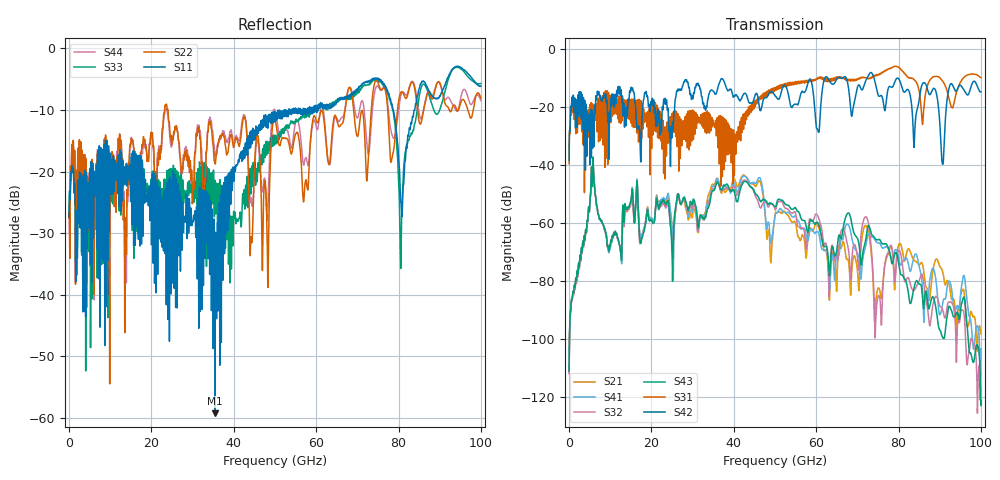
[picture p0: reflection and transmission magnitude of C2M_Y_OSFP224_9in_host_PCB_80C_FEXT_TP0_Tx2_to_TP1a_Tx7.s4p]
# GHz S RI R 45
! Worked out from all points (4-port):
!   4000 points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, 25 MHz to 100 GHz, reference 45 ohm
!   strongest paths, dB at 25 MHz, 25.02 GHz, 50.02 GHz, 75.03 GHz, 100 GHz:
!     S42: -38.3, -28.8, -16.0, -15.6, -14.6
!     S31: -39.5, -22.8, -13.1, -8.9, -9.8
!     S43: -111.0, -70.9, -54.3, -65.7, -121.2
!     S32: -111.8, -65.9, -55.2, -85.2, -112.3
!     S41: -110.6, -61.3, -57.4, -66.7, -103.3
!     S21: -111.2, -60.8, -56.9, -82.4, -98.1
!   lowest |S11| = -59.2 dB at 35.42 GHz (marker M1), VSWR 1.00, Z = 45.1 + j0.0616 ohm
!   |S11| at or under -10 dB: start of sweep to 52.24 GHz; 52.67 GHz to 53.37 GHz (704.3 MHz wide, 1.33 % of centre); 78.74 GHz to 83.94 GHz (5.196 GHz wide, 6.39 % of centre)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
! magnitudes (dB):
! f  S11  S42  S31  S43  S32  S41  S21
! 25 MHz  -27.4  -38.3  -39.5  -111.0  -111.8  -110.6  -111.2
! 5.75 GHz  -18.6  -34.1  -18.8  -39.9  -40.1  -39.9  -40.1
! 12.4 GHz  -16.8  -14.4  -16.1  -68.3  -68.0  -68.3  -68.1
! 35.42 GHz  -59.2  -15.4  -27.0  -48.0  -47.5  -46.8  -46.3
! 86.25 GHz  -5.5  -11.5  -18.7  -87.0  -82.0  -90.9  -78.0
! 90.67 GHz  -6.8  -39.5  -10.8  -99.2  -89.6  -88.0  -76.5
! 100 GHz  -6.1  -14.6  -9.8  -121.2  -112.3  -103.3  -98.1
